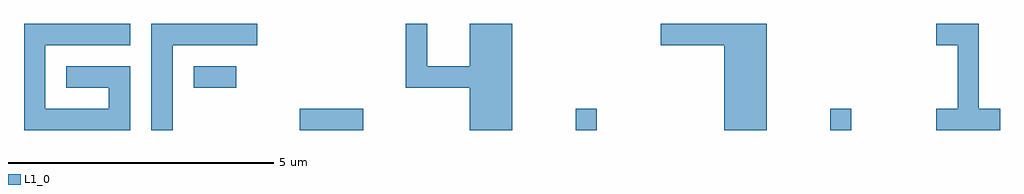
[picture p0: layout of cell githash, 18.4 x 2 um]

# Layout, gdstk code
import gdstk
lib = gdstk.Library(unit=1e-6, precision=1e-09)
def R(c, l, rs):  # rectangles x0, y0, x1, y1
    for r in rs: c.add(gdstk.rectangle(r[:2], r[2:], *l))
def A(c, l, x, y, w, h, nx, ny, dx, dy):  # array of equal rectangles
    R(c, l, [(x+i*dx, y+j*dy, x+i*dx+w, y+j*dy+h) for i in range(nx) for j in range(ny)])
L1_0 = (1, 0)

githash = lib.new_cell('githash')
A(githash, L1_0, 0, 0, 0.4, 0.4, 5, 2, 0.4, 1.6)
A(githash, L1_0, 2.4, 0, 0.4, 0.4, 1, 4, 0, 0.4)
A(githash, L1_0, 5.2, 0, 0.4, 0.4, 3, 1, 0.4, 0)
A(githash, L1_0, 13.2, 0, 0.4, 0.4, 1, 4, 0, 0.4)
A(githash, L1_0, 13.6, 0, 0.4, 0.4, 1, 4, 0, 0.4)
A(githash, L1_0, 17.2, 0, 0.4, 0.4, 3, 1, 0.4, 0)
A(githash, L1_0, 0, 0.4, 0.4, 0.4, 1, 3, 0, 0.4)
A(githash, L1_0, 17.6, 0.4, 0.4, 0.4, 1, 4, 0, 0.4)
A(githash, L1_0, 0.8, 0.8, 0.4, 0.4, 3, 1, 0.4, 0)
A(githash, L1_0, 7.2, 0.8, 0.4, 0.4, 5, 1, 0.4, 0)
A(githash, L1_0, 2.4, 1.6, 0.4, 0.4, 5, 1, 0.4, 0)
A(githash, L1_0, 12, 1.6, 0.4, 0.4, 5, 1, 0.4, 0)
R(githash, L1_0, [(8.4,0,8.8,0.4), (8.8,0,9.2,0.4), (10.4,0,10.8,0.4), (15.2,0,15.6,0.4), (1.6,0.4,2,0.8), (8.4,0.4,8.8,0.8), (8.8,0.4,9.2,0.8), (3.2,0.8,3.6,1.2), (3.6,0.8,4,1.2), (7.2,1.2,7.6,1.6), (8.4,1.2,8.8,1.6), (8.8,1.2,9.2,1.6), (7.2,1.6,7.6,2), (8.4,1.6,8.8,2), (8.8,1.6,9.2,2), (17.2,1.6,17.6,2)])

lib.write_gds('githash.gds')
